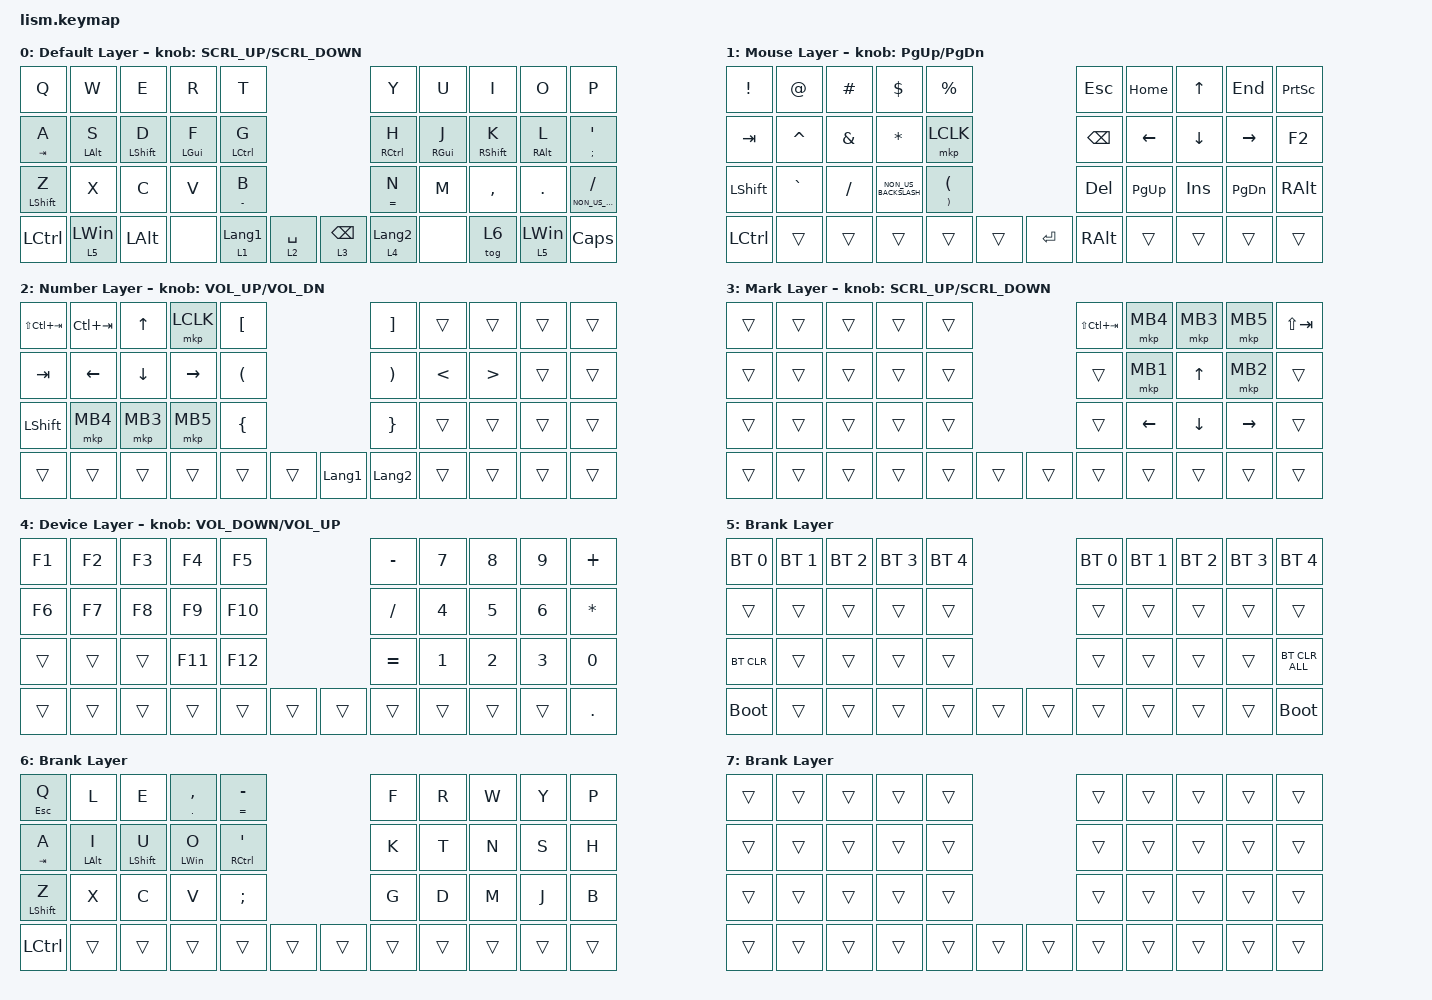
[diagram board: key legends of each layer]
#define ZMK_POINTING_DEFAULT_SCRL_VAL 200

#include <dt-bindings/zmk/mouse.h>
#include <behaviors.dtsi>
#include <dt-bindings/zmk/bt.h>
#include <dt-bindings/zmk/keys.h>
#include <dt-bindings/zmk/pointing.h>

&mt {
    tapping-term-ms = <300>;
    flavor = "balanced";
};

&lt { quick-tap-ms = <300>; };

/ {
    macros {
        emoji: emoji_macro {
            compatible = "zmk,behavior-macro";
            label = "EMOJI";
            #binding-cells = <0>;
            bindings =
                <&macro_press>,
                <&kp CAPSLOCK>,
                <&macro_tap>,
                <&kp E>,
                <&macro_release>,
                <&kp CAPSLOCK>;
        };
    };

    behaviors {
        encoder_msc: sensor_rotate_msc {
            compatible = "zmk,behavior-sensor-rotate-var";
            #sensor-binding-cells = <2>;
            bindings = <&msc>, <&msc>;

            tap-ms = <20>;
        };

        encoder_kp: sensor_rotate_kp {
            compatible = "zmk,behavior-sensor-rotate-var";
            #sensor-binding-cells = <2>;
            bindings = <&kp>, <&kp>;
        };
    };

    keymap {
        compatible = "zmk,keymap";

        default_layer {
            display-name = "Default Layer";
            bindings = <
&kp Q             &kp W           &kp E         &kp R       &kp T                                             &kp Y             &kp U       &kp I         &kp O           &kp P
&mt TAB A         &mt LALT S      &mt LSHIFT D  &mt LGUI F  &mt LCTRL G                                       &mt RCTRL H       &mt RGUI J  &mt RSHIFT K  &mt RALT L      &mt SEMICOLON SQT
&mt LEFT_SHIFT Z  &kp X           &kp C         &kp V       &mt MINUS B                                       &mt EQUAL N       &kp M       &kp COMMA     &kp DOT         &mt NON_US_BACKSLASH SLASH
&kp LCTRL         &lt 5 LEFT_WIN  &kp LEFT_ALT  &none       &lt 1 LANGUAGE_1  &lt 2 SPACE    &lt 3 BACKSPACE  &lt 4 LANGUAGE_2  &none       &tog 6        &lt 5 LEFT_WIN  &kp CAPS
            >;

            sensor-bindings = <&encoder_msc SCRL_UP SCRL_DOWN>;
        };

        layer_1 {
            display-name = "Mouse Layer";
            bindings = <
&kp EXCLAMATION  &kp AT_SIGN  &kp HASH       &kp DOLLAR            &kp PERCENT                                                  &kp ESCAPE     &kp HOME        &kp UP_ARROW  &kp END          &kp PRINTSCREEN
&kp TAB          &kp CARET    &kp AMPERSAND  &kp ASTERISK          &mkp LCLK                                                    &kp BACKSPACE  &kp LEFT_ARROW  &kp DOWN      &kp RIGHT_ARROW  &kp F2
&kp LEFT_SHIFT   &kp GRAVE    &kp SLASH      &kp NON_US_BACKSLASH  &mt RIGHT_PARENTHESIS LEFT_PARENTHESIS                       &kp DELETE     &kp PAGE_UP     &kp INSERT    &kp PAGE_DOWN    &kp RIGHT_ALT
&kp LCTRL        &trans       &trans         &trans                &trans                                  &trans    &kp ENTER  &kp RIGHT_ALT  &trans          &trans        &trans           &trans
            >;

            sensor-bindings = <&inc_dec_kp PAGE_UP PAGE_DOWN>;
        };

        layer_2 {
            display-name = "Number Layer";
            bindings = <
&kp LS(LC(TAB))  &kp LC(TAB)  &kp UP_ARROW  &mkp LCLK        &kp LEFT_BRACKET                                &kp RIGHT_BRACKET      &trans         &trans            &trans  &trans
&kp TAB          &kp LEFT     &kp DOWN      &kp RIGHT_ARROW  &kp LEFT_PARENTHESIS                            &kp RIGHT_PARENTHESIS  &kp LESS_THAN  &kp GREATER_THAN  &trans  &trans
&kp LEFT_SHIFT   &mkp MB4     &mkp MB3      &mkp MB5         &kp LEFT_BRACE                                  &kp RIGHT_BRACE        &trans         &trans            &trans  &trans
&trans           &trans       &trans        &trans           &trans                &trans    &kp LANGUAGE_1  &kp LANGUAGE_2         &trans         &trans            &trans  &trans
            >;

            sensor-bindings = <&encoder_kp C_VOL_UP C_VOL_DN>;
        };

        layer_3 {
            display-name = "Mark Layer";
            bindings = <
&trans  &trans  &trans  &trans  &trans                    &kp LS(LC(TAB))  &mkp MB4  &mkp MB3        &mkp MB5   &kp LS(TAB)
&trans  &trans  &trans  &trans  &trans                    &trans           &mkp MB1  &kp UP_ARROW    &mkp MB2   &trans
&trans  &trans  &trans  &trans  &trans                    &trans           &kp LEFT  &kp DOWN_ARROW  &kp RIGHT  &trans
&trans  &trans  &trans  &trans  &trans  &trans    &trans  &trans           &trans    &trans          &trans     &trans
            >;

            sensor-bindings = <&encoder_msc SCRL_UP SCRL_DOWN>;
        };

        layer_4 {
            display-name = "Device Layer";
            bindings = <
&kp F1  &kp F2  &kp F3  &kp F4   &kp F5                     &kp MINUS  &kp N7        &kp N8        &kp N9        &kp PLUS
&kp F6  &kp F7  &kp F8  &kp F9   &kp F10                    &kp SLASH  &kp NUMBER_4  &kp N5        &kp NUMBER_6  &kp ASTERISK
&trans  &trans  &trans  &kp F11  &kp F12                    &kp EQUAL  &kp NUMBER_1  &kp NUMBER_2  &kp NUMBER_3  &kp N0
&trans  &trans  &trans  &trans   &trans   &trans    &trans  &trans     &trans        &trans        &trans        &kp PERIOD
            >;

            sensor-bindings = <&inc_dec_kp C_VOLUME_DOWN C_VOLUME_UP>;
        };

        layer_5 {
            display-name = "Brank Layer";
            bindings = <
&bt BT_SEL 0  &bt BT_SEL 1  &bt BT_SEL 2  &bt BT_SEL 3  &bt BT_SEL 4                    &bt BT_SEL 0  &bt BT_SEL 1  &bt BT_SEL 2  &bt BT_SEL 3  &bt BT_SEL 4
&trans        &trans        &trans        &trans        &trans                          &trans        &trans        &trans        &trans        &trans
&bt BT_CLR    &trans        &trans        &trans        &trans                          &trans        &trans        &trans        &trans        &bt BT_CLR_ALL
&bootloader   &trans        &trans        &trans        &trans        &trans    &trans  &trans        &trans        &trans        &trans        &bootloader
            >;
        };

        layer_6 {
            display-name = "Brank Layer";
            bindings = <
&mt ESCAPE Q      &kp L           &kp E             &mt PERIOD COMMA  &mt EQUAL MINUS                    &kp F   &kp R   &kp W   &kp Y   &kp P
&mt TAB A         &mt LEFT_ALT I  &mt LEFT_SHIFT U  &mt LEFT_WIN O    &mt RCTRL SQT                      &kp K   &kp T   &kp N   &kp S   &kp H
&mt LEFT_SHIFT Z  &kp X           &kp C             &kp V             &kp SEMICOLON                      &kp G   &kp D   &kp M   &kp J   &kp B
&kp LCTRL         &trans          &trans            &trans            &trans           &trans    &trans  &trans  &trans  &trans  &trans  &trans
            >;
        };

        layer_7 {
            display-name = "Brank Layer";
            bindings = <
&trans  &trans  &trans  &trans  &trans                    &trans  &trans  &trans  &trans  &trans
&trans  &trans  &trans  &trans  &trans                    &trans  &trans  &trans  &trans  &trans
&trans  &trans  &trans  &trans  &trans                    &trans  &trans  &trans  &trans  &trans
&trans  &trans  &trans  &trans  &trans  &trans    &trans  &trans  &trans  &trans  &trans  &trans
            >;
        };
    };
};
